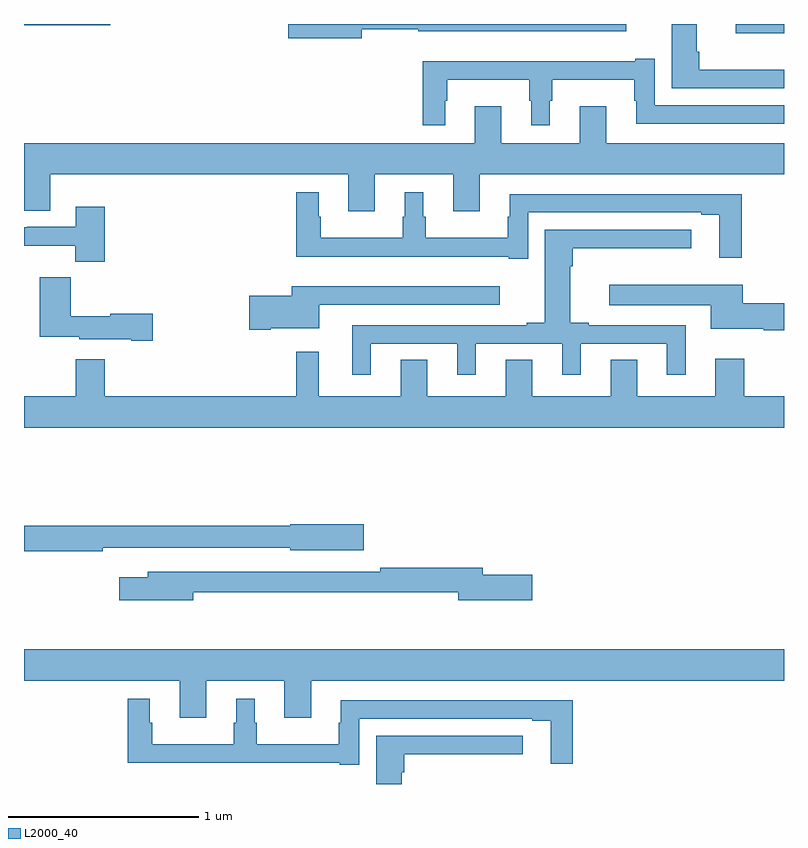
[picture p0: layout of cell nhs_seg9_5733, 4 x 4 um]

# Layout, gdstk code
import gdstk
lib = gdstk.Library(unit=1e-6, precision=1e-09)
def R(c, l, rs):  # rectangles x0, y0, x1, y1
    for r in rs: c.add(gdstk.rectangle(r[:2], r[2:], *l))
def P(c, l, *ps):  # polygons
    for p in ps: c.add(gdstk.Polygon(p, *l))
L2000_40 = (2000, 40)

nhs_seg9_5733 = lib.new_cell('nhs_seg9_5733')
R(nhs_seg9_5733, L2000_40, [(446.745,1242.452,447,1242.5), (443,1242.494,443.455,1242.5)])
P(nhs_seg9_5733, L2000_40, [(447,1242.26),(446.555,1242.26),(446.555,1242.355),(446.542,1242.355),(446.542,1242.5),(446.408,1242.5),(446.408,1242.162),(447,1242.162)],
  [(444.778,1242.472),(445.076,1242.472),(445.076,1242.461),(446.17,1242.461),(446.17,1242.5),(444.39,1242.5),(444.39,1242.425),(444.778,1242.425)],
  [(445.216,1242.095),(445.228,1242.095),(445.228,1242.206),(445.659,1242.206),(445.659,1242.095),(445.67,1242.095),(445.67,1241.967),(445.768,1241.967),(445.768,1242.095),(445.78,1242.095),(445.78,1242.206),(446.211,1242.206),(446.211,1242.095),(446.222,1242.095),(446.222,1241.976),(447,1241.976),(447,1242.072),(446.319,1242.072),(446.319,1242.316),(446.216,1242.316),(446.216,1242.304),(445.099,1242.304),(445.099,1241.967),(445.216,1241.967)],
  [(444.847,1241.708),(445.259,1241.708),(445.259,1241.514),(445.399,1241.514),(445.399,1241.708),(447,1241.708),(447,1241.872),(446.065,1241.872),(446.065,1242.067),(445.925,1242.067),(445.925,1241.872),(445.513,1241.872),(445.513,1242.067),(445.373,1242.067),(445.373,1241.872),(443,1241.872),(443,1241.518),(443.137,1241.518),(443.137,1241.708),(444.707,1241.708),(444.707,1241.514),(444.847,1241.514)],
  [(445.653,1241.508),(446.564,1241.508),(446.564,1241.496),(446.66,1241.496),(446.66,1241.271),(446.777,1241.271),(446.777,1241.604),(445.556,1241.604),(445.556,1241.486),(445.545,1241.486),(445.545,1241.374),(445.114,1241.374),(445.114,1241.486),(445.102,1241.486),(445.102,1241.614),(445.004,1241.614),(445.004,1241.486),(444.993,1241.486),(444.993,1241.374),(444.562,1241.374),(444.562,1241.486),(444.55,1241.486),(444.55,1241.614),(444.433,1241.614),(444.433,1241.276),(445.55,1241.276),(445.55,1241.265),(445.653,1241.265)],
  [(443.426,1241.539),(443.273,1241.539),(443.273,1241.433),(443.017,1241.433),(443.017,1241.43),(443,1241.43),(443,1241.334),(443.271,1241.334),(443.271,1241.249),(443.426,1241.249)],
  [(444.826,1240.818),(445.28,1240.818),(445.28,1240.653),(445.378,1240.653),(445.378,1240.818),(445.832,1240.818),(445.832,1240.653),(445.93,1240.653),(445.93,1240.818),(446.384,1240.818),(446.384,1240.653),(446.482,1240.653),(446.482,1240.914),(445.972,1240.914),(445.972,1240.927),(445.876,1240.927),(445.876,1241.225),(445.889,1241.225),(445.889,1241.321),(446.512,1241.321),(446.512,1241.418),(445.742,1241.418),(445.742,1240.927),(445.646,1240.927),(445.646,1240.914),(444.728,1240.914),(444.728,1240.653),(444.826,1240.653)],
  [(443.677,1240.976),(443.454,1240.976),(443.454,1240.963),(443.246,1240.963),(443.246,1241.167),(443.084,1241.167),(443.084,1240.853),(443.292,1240.853),(443.292,1240.841),(443.564,1240.841),(443.564,1240.834),(443.677,1240.834)],
  [(447,1241.03),(446.782,1241.03),(446.782,1241.128),(446.079,1241.128),(446.079,1241.021),(446.615,1241.021),(446.615,1240.895),(446.894,1240.895),(446.894,1240.888),(447,1240.888)],
  [(444.298,1240.898),(444.553,1240.898),(444.553,1241.022),(445.504,1241.022),(445.504,1241.119),(444.41,1241.119),(444.41,1241.069),(444.186,1241.069),(444.186,1240.891),(444.298,1240.891)],
  [(447,1240.54),(446.792,1240.54),(446.792,1240.738),(446.639,1240.738),(446.639,1240.54),(446.227,1240.54),(446.227,1240.733),(446.087,1240.733),(446.087,1240.54),(445.675,1240.54),(445.675,1240.733),(445.535,1240.733),(445.535,1240.54),(445.123,1240.54),(445.123,1240.733),(444.983,1240.733),(444.983,1240.54),(444.551,1240.54),(444.551,1240.774),(444.433,1240.774),(444.433,1240.54),(443.426,1240.54),(443.426,1240.735),(443.273,1240.735),(443.273,1240.54),(443,1240.54),(443,1240.376),(447,1240.376)],
  [(443.414,1239.744),(444.402,1239.744),(444.402,1239.731),(444.787,1239.731),(444.787,1239.866),(444.402,1239.866),(444.402,1239.86),(443,1239.86),(443,1239.724),(443.414,1239.724)],
  [(443.89,1239.51),(445.286,1239.51),(445.286,1239.467),(445.675,1239.467),(445.675,1239.602),(445.414,1239.602),(445.414,1239.638),(444.874,1239.638),(444.874,1239.618),(443.651,1239.618),(443.651,1239.589),(443.502,1239.589),(443.502,1239.467),(443.89,1239.467)],
  [(443.959,1239.044),(444.371,1239.044),(444.371,1238.85),(444.511,1238.85),(444.511,1239.044),(447,1239.044),(447,1239.208),(443,1239.208),(443,1239.044),(443.819,1239.044),(443.819,1238.85),(443.959,1238.85)],
  [(444.765,1238.844),(445.676,1238.844),(445.676,1238.832),(445.772,1238.832),(445.772,1238.607),(445.889,1238.607),(445.889,1238.94),(444.668,1238.94),(444.668,1238.822),(444.657,1238.822),(444.657,1238.71),(444.226,1238.71),(444.226,1238.822),(444.214,1238.822),(444.214,1238.95),(444.116,1238.95),(444.116,1238.822),(444.105,1238.822),(444.105,1238.71),(443.674,1238.71),(443.674,1238.822),(443.662,1238.822),(443.662,1238.95),(443.545,1238.95),(443.545,1238.612),(444.662,1238.612),(444.662,1238.601),(444.765,1238.601)],
  [(444.988,1238.561),(445.001,1238.561),(445.001,1238.657),(445.624,1238.657),(445.624,1238.754),(444.854,1238.754),(444.854,1238.5),(444.988,1238.5)])

lib.write_gds('nhs_seg9_5733.gds')
